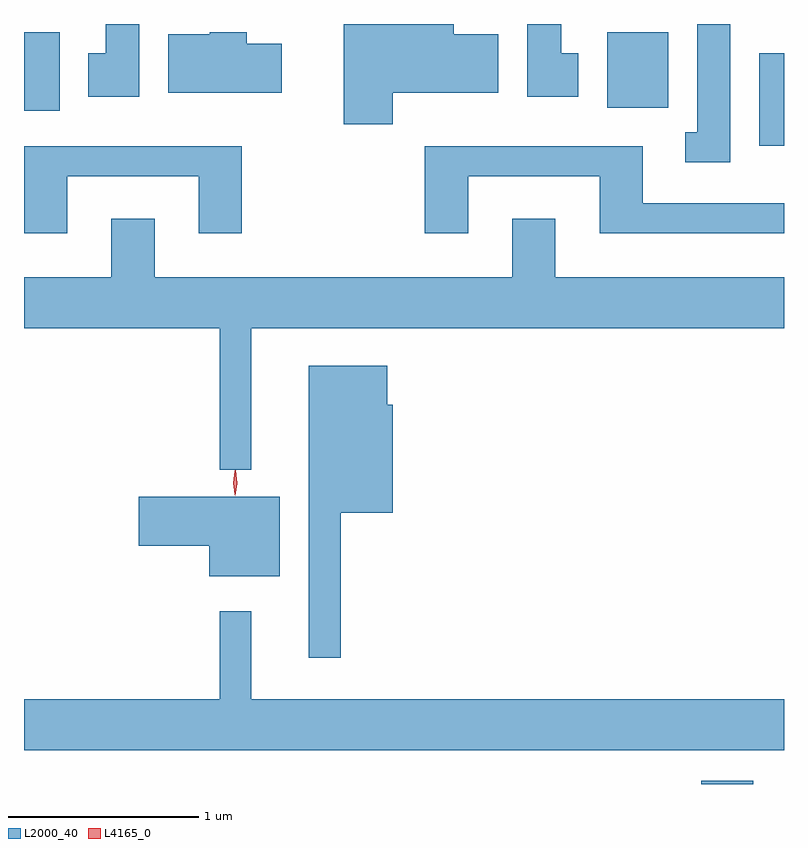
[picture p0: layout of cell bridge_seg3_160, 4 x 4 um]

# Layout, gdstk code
import gdstk
lib = gdstk.Library(unit=1e-6, precision=1e-09)
def R(c, l, rs):  # rectangles x0, y0, x1, y1
    for r in rs: c.add(gdstk.rectangle(r[:2], r[2:], *l))
def P(c, l, *ps):  # polygons
    for p in ps: c.add(gdstk.Polygon(p, *l))
L2000_40 = (2000, 40)
L4165_0 = (4165, 0)

bridge_seg3_160 = lib.new_cell('bridge_seg3_160')
R(bridge_seg3_160, L2000_40, [(762.156,1187.998,762.429,1188.014), (762.461,1191.356,762.592,1191.844), (758.592,1191.541,758.779,1191.954), (761.661,1191.556,761.984,1191.954)])
P(bridge_seg3_160, L2000_40, [(762.309,1191.998),(762.136,1191.998),(762.136,1191.429),(762.073,1191.429),(762.073,1191.271),(762.309,1191.271)],
  [(760.534,1191.636),(761.089,1191.636),(761.089,1191.944),(760.854,1191.944),(760.854,1191.998),(760.276,1191.998),(760.276,1191.471),(760.534,1191.471)],
  [(759.199,1191.998),(759.021,1191.998),(759.021,1191.844),(758.931,1191.844),(758.931,1191.616),(759.199,1191.616)],
  [(761.509,1191.844),(761.419,1191.844),(761.419,1191.998),(761.241,1191.998),(761.241,1191.616),(761.509,1191.616)],
  [(759.949,1191.894),(759.764,1191.894),(759.764,1191.954),(759.57,1191.954),(759.57,1191.944),(759.351,1191.944),(759.351,1191.636),(759.949,1191.636)],
  [(758.819,1191.196),(759.511,1191.196),(759.511,1190.896),(759.739,1190.896),(759.739,1191.354),(758.592,1191.354),(758.592,1190.896),(758.819,1190.896)],
  [(760.929,1191.196),(761.621,1191.196),(761.621,1190.896),(762.592,1190.896),(762.592,1191.054),(761.849,1191.054),(761.849,1191.354),(760.701,1191.354),(760.701,1190.896),(760.929,1190.896)],
  [(759.789,1190.396),(762.592,1190.396),(762.592,1190.664),(761.389,1190.664),(761.389,1190.974),(761.161,1190.974),(761.161,1190.664),(759.279,1190.664),(759.279,1190.974),(759.051,1190.974),(759.051,1190.664),(758.592,1190.664),(758.592,1190.396),(759.621,1190.396),(759.621,1189.653),(759.789,1189.653)],
  [(760.259,1189.426),(760.534,1189.426),(760.534,1189.994),(760.504,1189.994),(760.504,1190.199),(760.091,1190.199),(760.091,1188.663),(760.259,1188.663)],
  [(759.939,1189.509),(759.196,1189.509),(759.196,1189.251),(759.566,1189.251),(759.566,1189.091),(759.939,1189.091)],
  [(762.592,1188.444),(759.789,1188.444),(759.789,1188.908),(759.621,1188.908),(759.621,1188.444),(758.592,1188.444),(758.592,1188.176),(762.592,1188.176)])
P(bridge_seg3_160, L4165_0, [(759.703,1189.514),(759.703,1189.514),(759.694,1189.582),(759.704,1189.65),(759.705,1189.65),(759.706,1189.65),(759.714,1189.582),(759.704,1189.514)],
  [(759.701,1189.52),(759.692,1189.583),(759.701,1189.646),(759.702,1189.647),(759.702,1189.646),(759.712,1189.583),(759.702,1189.52),(759.702,1189.52)])

lib.write_gds('bridge_seg3_160.gds')
